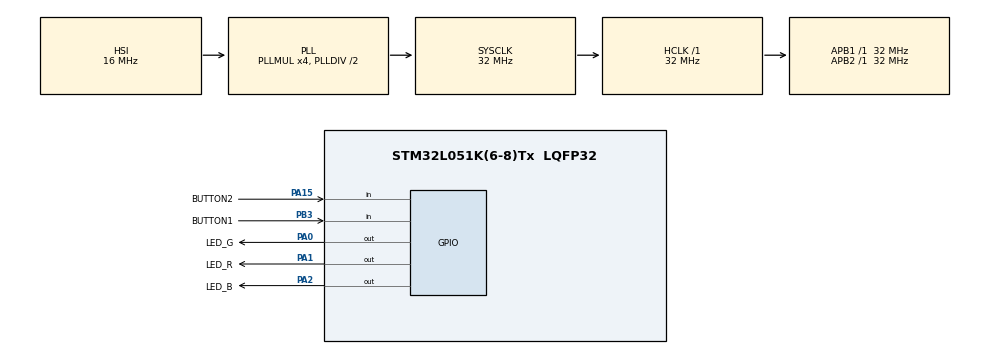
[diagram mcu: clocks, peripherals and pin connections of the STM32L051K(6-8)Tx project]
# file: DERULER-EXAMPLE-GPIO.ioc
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Mcu.Family=STM32L0
Mcu.Name=STM32L051K(6-8)Tx
Mcu.Package=LQFP32
PA0.GPIO_Label=LED_G
PA0.Signal=GPIO_Output
PA1.GPIO_Label=LED_R
PA1.Signal=GPIO_Output
PA13.Mode=Serial_Wire
PA13.Signal=SYS_SWDIO
PA14.Mode=Serial_Wire
PA14.Signal=SYS_SWCLK
PA15.GPIO_Label=BUTTON2
PA15.GPIO_PuPd=GPIO_PULLUP
PA15.Signal=GPIO_Input
PA2.GPIO_Label=LED_B
PA2.Signal=GPIO_Output
PB3.GPIO_Label=BUTTON1
PB3.GPIO_PuPd=GPIO_PULLUP
PB3.Signal=GPIO_Input
ProjectManager.HeapSize=0x200
ProjectManager.StackSize=0x400
ProjectManager.TargetToolchain=STM32CubeIDE
RCC.AHBFreq_Value=32000000
RCC.APB1Freq_Value=32000000
RCC.APB1TimFreq_Value=32000000
RCC.APB2Freq_Value=32000000
RCC.APB2TimFreq_Value=32000000
RCC.HCLKFreq_Value=32000000
RCC.HSI16_VALUE=16000000
RCC.HSI_VALUE=16000000
RCC.LSE_VALUE=32768
RCC.MSI_VALUE=2097000
RCC.PLLMUL=RCC_PLLMUL_4
RCC.SYSCLKFreq_VALUE=32000000
RCC.SYSCLKSource=RCC_SYSCLKSOURCE_PLLCLK
RCC.VCOOutputFreq_Value=64000000
board=custom

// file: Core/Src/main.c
/* USER CODE BEGIN Header */
/**
  ******************************************************************************
  * @file           : main.c
  * @brief          : Main program body
  ******************************************************************************
  * @attention
  *
  * <h2><center>&copy; Copyright (c) 2021 STMicroelectronics.
  * All rights reserved.</center></h2>
  *
  * This software component is licensed by ST under BSD 3-Clause license,
  * the "License"; You may not use this file except in compliance with the
  * License. You may obtain a copy of the License at:
  *                        opensource.org/licenses/BSD-3-Clause
  *
  ******************************************************************************
  */

/**
 * DERULER-EXAMPLE-GPIO (main.c)
 *
 * This example shows how to read and write the state of a pin. The pins used in this example are called GPIO (general purpose input/output)
 * meaning they can be configured as either input or output depending on your preference. Each pin can have one of two states, 1 or 0. These
 * states can also be referred to as high/low or set/reset. A state of 1 means the pin voltage is near the supply voltage (3.3V in our circuit).
 * A state of 0 means the pin voltage is near ground (0V). You can alter the state of the pin and measure the pin voltage with a multimeter to
 * confirm.
 *
 * In this example we configure the pins connected to the buttons as inputs to be able to read if they are pressed and configure the pins
 * connected to the LED as outputs for adjusting the color. When a button is pressed, it creates a short circuit from the pin to
 * ground (state 0). When the button isn't pressed, the pin is not directly connected to anything and thus undefined. This state is also
 * referred to as floating or Hi-Z (high impedance). When the pin is floating, it may read either 1 or 0. To reliably detect if the button
 * is pressed we have to make sure the voltage of the pin is near the supply voltage when the button is not pressed for it to read as 1. We
 * can achieve this by enabling the built-in pull-up resistor on the pin. This connects a 25-65 kohm resistor from the pin to the supply voltage.
 *
 */

/* USER CODE END Header */
#include "main.h"

void SystemClock_Config(void);
static void MX_GPIO_Init(void);

int main(void)
{

  /* MCU Configuration--------------------------------------------------------*/

  /* Reset of all peripherals, Initializes the Flash interface and the Systick. */
  HAL_Init();

  /* Configure the system clock */
  SystemClock_Config();

  /* Initialize all configured peripherals */
  MX_GPIO_Init();
  /* USER CODE BEGIN 2 */

  // Define the color variable as a signed integer. Signed means it can represent both positive and negative numbers (+/-).

  int color = 0;

  /* USER CODE END 2 */

  /* Infinite loop */
  /* USER CODE BEGIN WHILE */
  while (1)
  {

	  // Check if any button is pressed

	  if(HAL_GPIO_ReadPin(BUTTON1_GPIO_Port, BUTTON1_Pin) == GPIO_PIN_RESET) {
		  // Button 1 is pressed
		  color++; // Increase color value by 1
	  } else if(HAL_GPIO_ReadPin(BUTTON2_GPIO_Port, BUTTON2_Pin) == GPIO_PIN_RESET) {
		  // Button 2 is pressed
		  color--; // Decrease color value by 1
	  }

	  // Check if color value is within limits

	  if(color < 0) {
		  // Color is negative, wrap around to max value 2
		  color = 2;
	  } else if(color > 2) {
		  // Color is more than 2, wrap around to first value 0
		  color = 0;
	  }

	  // Output the selected color

	  if(color == 0) {
		  // Red color
		  HAL_GPIO_WritePin(LED_R_GPIO_Port, LED_R_Pin, GPIO_PIN_SET); // Red on
		  HAL_GPIO_WritePin(LED_G_GPIO_Port, LED_G_Pin, GPIO_PIN_RESET); // Green off
		  HAL_GPIO_WritePin(LED_B_GPIO_Port, LED_B_Pin, GPIO_PIN_RESET); // Blue off
	  } else if(color == 1) {
		  // Green color
		  HAL_GPIO_WritePin(LED_R_GPIO_Port, LED_R_Pin, GPIO_PIN_RESET); // Red off
		  HAL_GPIO_WritePin(LED_G_GPIO_Port, LED_G_Pin, GPIO_PIN_SET); // Green on
		  HAL_GPIO_WritePin(LED_B_GPIO_Port, LED_B_Pin, GPIO_PIN_RESET); // Blue off
	  } else if(color == 2) {
		  // Blue color
		  HAL_GPIO_WritePin(LED_R_GPIO_Port, LED_R_Pin, GPIO_PIN_RESET); // Red off
		  HAL_GPIO_WritePin(LED_G_GPIO_Port, LED_G_Pin, GPIO_PIN_RESET); // Green off
		  HAL_GPIO_WritePin(LED_B_GPIO_Port, LED_B_Pin, GPIO_PIN_SET); // Blue on
	  }

	  // Wait for 200 milliseconds until evaluating again

	  HAL_Delay(200); // 200 ms

    /* USER CODE END WHILE */

  }
}

void SystemClock_Config(void)
{
  RCC_OscInitTypeDef RCC_OscInitStruct = {0};
  RCC_ClkInitTypeDef RCC_ClkInitStruct = {0};

  /** Configure the main internal regulator output voltage
  */
  __HAL_PWR_VOLTAGESCALING_CONFIG(PWR_REGULATOR_VOLTAGE_SCALE1);
  /** Initializes the RCC Oscillators according to the specified parameters
  * in the RCC_OscInitTypeDef structure.
  */
  RCC_OscInitStruct.OscillatorType = RCC_OSCILLATORTYPE_HSI;
  RCC_OscInitStruct.HSIState = RCC_HSI_ON;
  RCC_OscInitStruct.HSICalibrationValue = RCC_HSICALIBRATION_DEFAULT;
  RCC_OscInitStruct.PLL.PLLState = RCC_PLL_ON;
  RCC_OscInitStruct.PLL.PLLSource = RCC_PLLSOURCE_HSI;
  RCC_OscInitStruct.PLL.PLLMUL = RCC_PLLMUL_4;
  RCC_OscInitStruct.PLL.PLLDIV = RCC_PLLDIV_2;
  if (HAL_RCC_OscConfig(&RCC_OscInitStruct) != HAL_OK)
  {
    Error_Handler();
  }
  /** Initializes the CPU, AHB and APB buses clocks
  */
  RCC_ClkInitStruct.ClockType = RCC_CLOCKTYPE_HCLK|RCC_CLOCKTYPE_SYSCLK
                              |RCC_CLOCKTYPE_PCLK1|RCC_CLOCKTYPE_PCLK2;
  RCC_ClkInitStruct.SYSCLKSource = RCC_SYSCLKSOURCE_PLLCLK;
  RCC_ClkInitStruct.AHBCLKDivider = RCC_SYSCLK_DIV1;
  RCC_ClkInitStruct.APB1CLKDivider = RCC_HCLK_DIV1;
  RCC_ClkInitStruct.APB2CLKDivider = RCC_HCLK_DIV1;

  if (HAL_RCC_ClockConfig(&RCC_ClkInitStruct, FLASH_LATENCY_1) != HAL_OK)
  {
    Error_Handler();
  }
}

static void MX_GPIO_Init(void)
{
  GPIO_InitTypeDef GPIO_InitStruct = {0};

  /* GPIO Ports Clock Enable */
  __HAL_RCC_GPIOA_CLK_ENABLE();
  __HAL_RCC_GPIOB_CLK_ENABLE();

  /*Configure GPIO pin Output Level */
  HAL_GPIO_WritePin(GPIOA, LED_G_Pin|LED_R_Pin|LED_B_Pin, GPIO_PIN_RESET);

  /*Configure GPIO pins : LED_G_Pin LED_R_Pin LED_B_Pin */
  GPIO_InitStruct.Pin = LED_G_Pin|LED_R_Pin|LED_B_Pin;
  GPIO_InitStruct.Mode = GPIO_MODE_OUTPUT_PP;
  GPIO_InitStruct.Pull = GPIO_NOPULL;
  GPIO_InitStruct.Speed = GPIO_SPEED_FREQ_LOW;
  HAL_GPIO_Init(GPIOA, &GPIO_InitStruct);

  /*Configure GPIO pin : BUTTON2_Pin */
  GPIO_InitStruct.Pin = BUTTON2_Pin;
  GPIO_InitStruct.Mode = GPIO_MODE_INPUT;
  GPIO_InitStruct.Pull = GPIO_PULLUP;
  HAL_GPIO_Init(BUTTON2_GPIO_Port, &GPIO_InitStruct);

  /*Configure GPIO pin : BUTTON1_Pin */
  GPIO_InitStruct.Pin = BUTTON1_Pin;
  GPIO_InitStruct.Mode = GPIO_MODE_INPUT;
  GPIO_InitStruct.Pull = GPIO_PULLUP;
  HAL_GPIO_Init(BUTTON1_GPIO_Port, &GPIO_InitStruct);

}

void Error_Handler(void)
{
  __disable_irq();
  while (1)
  {
  }
}

/************************ (C) COPYRIGHT STMicroelectronics *****END OF FILE****/
